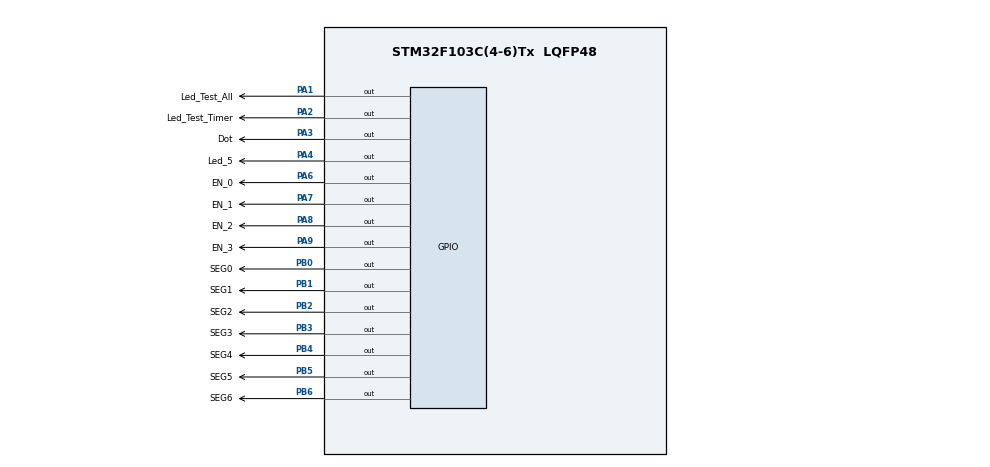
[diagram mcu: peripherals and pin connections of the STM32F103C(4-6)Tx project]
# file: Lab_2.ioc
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Mcu.Family=STM32F1
Mcu.Name=STM32F103C(4-6)Tx
Mcu.Package=LQFP48
NVIC.PriorityGroup=NVIC_PRIORITYGROUP_4
NVIC.TIM2_IRQn=true\:0\:0\:false\:false\:true\:true\:true
PA1.GPIO_Label=Led_Test_All
PA1.Signal=GPIO_Output
PA2.GPIO_Label=Led_Test_Timer
PA2.Signal=GPIO_Output
PA3.GPIO_Label=Dot
PA3.Signal=GPIO_Output
PA4.GPIO_Label=Led_5
PA4.Signal=GPIO_Output
PA6.GPIO_Label=EN_0
PA6.Signal=GPIO_Output
PA7.GPIO_Label=EN_1
PA7.Signal=GPIO_Output
PA8.GPIO_Label=EN_2
PA8.Signal=GPIO_Output
PA9.GPIO_Label=EN_3
PA9.Signal=GPIO_Output
PB0.GPIO_Label=SEG0
PB0.Signal=GPIO_Output
PB1.GPIO_Label=SEG1
PB1.Signal=GPIO_Output
PB2.GPIO_Label=SEG2
PB2.Signal=GPIO_Output
PB3.GPIO_Label=SEG3
PB3.Signal=GPIO_Output
PB4.GPIO_Label=SEG4
PB4.Signal=GPIO_Output
PB5.GPIO_Label=SEG5
PB5.Signal=GPIO_Output
PB6.GPIO_Label=SEG6
PB6.Signal=GPIO_Output
ProjectManager.HeapSize=0x200
ProjectManager.StackSize=0x400
ProjectManager.TargetToolchain=STM32CubeIDE
RCC.APB1Freq_Value=8000000
RCC.APB2Freq_Value=8000000
TIM2.Period=9
TIM2.Prescaler=7999
VP_SYS_VS_ND.Mode=No_Debug
VP_TIM2_VS_ClockSourceINT.Mode=Internal
board=custom

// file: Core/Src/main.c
/* USER CODE BEGIN Header */
/**
  ******************************************************************************
  * @file           : main.c
  * @brief          : Main program body
  ******************************************************************************
  * @attention
  *
  * <h2><center>&copy; Copyright (c) 2024 STMicroelectronics.
  * All rights reserved.</center></h2>
  *
  * This software component is licensed by ST under BSD 3-Clause license,
  * the "License"; You may not use this file except in compliance with the
  * License. You may obtain a copy of the License at:
  *                        opensource.org/licenses/BSD-3-Clause
  *
  ******************************************************************************
  */
/* USER CODE END Header */
#include "main.h"

TIM_HandleTypeDef htim2;

void SystemClock_Config(void);
static void MX_GPIO_Init(void);
static void MX_TIM2_Init(void);

/* USER CODE BEGIN 0 */
void clear7SEG() {
	HAL_GPIO_WritePin(SEG0_GPIO_Port, SEG0_Pin, GPIO_PIN_SET);
	HAL_GPIO_WritePin(SEG5_GPIO_Port, SEG5_Pin, GPIO_PIN_SET);
	HAL_GPIO_WritePin(SEG4_GPIO_Port, SEG4_Pin, GPIO_PIN_SET);
	HAL_GPIO_WritePin(SEG3_GPIO_Port, SEG3_Pin, GPIO_PIN_SET);
	HAL_GPIO_WritePin(SEG6_GPIO_Port, SEG6_Pin, GPIO_PIN_SET);
	HAL_GPIO_WritePin(SEG1_GPIO_Port, SEG1_Pin, GPIO_PIN_SET);
	HAL_GPIO_WritePin(SEG2_GPIO_Port, SEG2_Pin, GPIO_PIN_SET);
}

void display7SEG (int num) {

  switch (num) {
	case 0:
		HAL_GPIO_WritePin(SEG6_GPIO_Port, SEG6_Pin, GPIO_PIN_SET);
		HAL_GPIO_WritePin(SEG0_GPIO_Port, SEG0_Pin, GPIO_PIN_RESET);
		HAL_GPIO_WritePin(SEG1_GPIO_Port, SEG1_Pin, GPIO_PIN_RESET);
		HAL_GPIO_WritePin(SEG2_GPIO_Port, SEG2_Pin, GPIO_PIN_RESET);
		HAL_GPIO_WritePin(SEG3_GPIO_Port, SEG3_Pin, GPIO_PIN_RESET);
		HAL_GPIO_WritePin(SEG4_GPIO_Port, SEG4_Pin, GPIO_PIN_RESET);
		HAL_GPIO_WritePin(SEG5_GPIO_Port, SEG5_Pin, GPIO_PIN_RESET);
		break;
	case 1:
		HAL_GPIO_WritePin(SEG0_GPIO_Port, SEG0_Pin, GPIO_PIN_SET);
		HAL_GPIO_WritePin(SEG5_GPIO_Port, SEG5_Pin, GPIO_PIN_SET);
		HAL_GPIO_WritePin(SEG4_GPIO_Port, SEG4_Pin, GPIO_PIN_SET);
		HAL_GPIO_WritePin(SEG3_GPIO_Port, SEG3_Pin, GPIO_PIN_SET);
		HAL_GPIO_WritePin(SEG6_GPIO_Port, SEG6_Pin, GPIO_PIN_SET);
		HAL_GPIO_WritePin(SEG1_GPIO_Port, SEG1_Pin, GPIO_PIN_RESET);
		HAL_GPIO_WritePin(SEG2_GPIO_Port, SEG2_Pin, GPIO_PIN_RESET);
		break;
	case 2:
		HAL_GPIO_WritePin(SEG5_GPIO_Port, SEG5_Pin, GPIO_PIN_SET);
		HAL_GPIO_WritePin(SEG2_GPIO_Port, SEG2_Pin, GPIO_PIN_SET);
		HAL_GPIO_WritePin(SEG0_GPIO_Port, SEG0_Pin, GPIO_PIN_RESET);
		HAL_GPIO_WritePin(SEG1_GPIO_Port, SEG1_Pin, GPIO_PIN_RESET);
		HAL_GPIO_WritePin(SEG6_GPIO_Port, SEG6_Pin, GPIO_PIN_RESET);
		HAL_GPIO_WritePin(SEG4_GPIO_Port, SEG4_Pin, GPIO_PIN_RESET);
		HAL_GPIO_WritePin(SEG3_GPIO_Port, SEG3_Pin, GPIO_PIN_RESET);
		break;
	case 3:
		HAL_GPIO_WritePin(SEG5_GPIO_Port, SEG5_Pin, GPIO_PIN_SET);
		HAL_GPIO_WritePin(SEG4_GPIO_Port, SEG4_Pin, GPIO_PIN_SET);
		HAL_GPIO_WritePin(SEG0_GPIO_Port, SEG0_Pin, GPIO_PIN_RESET);
		HAL_GPIO_WritePin(SEG1_GPIO_Port, SEG1_Pin, GPIO_PIN_RESET);
		HAL_GPIO_WritePin(SEG6_GPIO_Port, SEG6_Pin, GPIO_PIN_RESET);
		HAL_GPIO_WritePin(SEG2_GPIO_Port, SEG2_Pin, GPIO_PIN_RESET);
		HAL_GPIO_WritePin(SEG3_GPIO_Port, SEG3_Pin, GPIO_PIN_RESET);
		break;
	case 4:
		HAL_GPIO_WritePin(SEG0_GPIO_Port, SEG0_Pin, GPIO_PIN_SET);
		HAL_GPIO_WritePin(SEG4_GPIO_Port, SEG4_Pin, GPIO_PIN_SET);
		HAL_GPIO_WritePin(SEG3_GPIO_Port, SEG3_Pin, GPIO_PIN_SET);
		HAL_GPIO_WritePin(SEG5_GPIO_Port, SEG5_Pin, GPIO_PIN_RESET);
		HAL_GPIO_WritePin(SEG1_GPIO_Port, SEG1_Pin, GPIO_PIN_RESET);
		HAL_GPIO_WritePin(SEG6_GPIO_Port, SEG6_Pin, GPIO_PIN_RESET);
		HAL_GPIO_WritePin(SEG2_GPIO_Port, SEG2_Pin, GPIO_PIN_RESET);
		break;
	case 5:
		HAL_GPIO_WritePin(SEG1_GPIO_Port, SEG1_Pin, GPIO_PIN_SET);
		HAL_GPIO_WritePin(SEG4_GPIO_Port, SEG4_Pin, GPIO_PIN_SET);
		HAL_GPIO_WritePin(SEG0_GPIO_Port, SEG0_Pin, GPIO_PIN_RESET);
		HAL_GPIO_WritePin(SEG5_GPIO_Port, SEG5_Pin, GPIO_PIN_RESET);
		HAL_GPIO_WritePin(SEG6_GPIO_Port, SEG6_Pin, GPIO_PIN_RESET);
		HAL_GPIO_WritePin(SEG2_GPIO_Port, SEG2_Pin, GPIO_PIN_RESET);
		HAL_GPIO_WritePin(SEG3_GPIO_Port, SEG3_Pin, GPIO_PIN_RESET);
		break;
	case 6:
		HAL_GPIO_WritePin(SEG1_GPIO_Port, SEG1_Pin, GPIO_PIN_SET);
		HAL_GPIO_WritePin(SEG0_GPIO_Port, SEG0_Pin, GPIO_PIN_RESET);
		HAL_GPIO_WritePin(SEG5_GPIO_Port, SEG5_Pin, GPIO_PIN_RESET);
		HAL_GPIO_WritePin(SEG6_GPIO_Port, SEG6_Pin, GPIO_PIN_RESET);
		HAL_GPIO_WritePin(SEG4_GPIO_Port, SEG4_Pin, GPIO_PIN_RESET);
		HAL_GPIO_WritePin(SEG2_GPIO_Port, SEG2_Pin, GPIO_PIN_RESET);
		HAL_GPIO_WritePin(SEG3_GPIO_Port, SEG3_Pin, GPIO_PIN_RESET);
		break;
	case 7:
		HAL_GPIO_WritePin(SEG5_GPIO_Port, SEG5_Pin, GPIO_PIN_SET);
		HAL_GPIO_WritePin(SEG6_GPIO_Port, SEG6_Pin, GPIO_PIN_SET);
		HAL_GPIO_WritePin(SEG4_GPIO_Port, SEG4_Pin, GPIO_PIN_SET);
		HAL_GPIO_WritePin(SEG3_GPIO_Port, SEG3_Pin, GPIO_PIN_SET);
		HAL_GPIO_WritePin(SEG0_GPIO_Port, SEG0_Pin, GPIO_PIN_RESET);
		HAL_GPIO_WritePin(SEG1_GPIO_Port, SEG1_Pin, GPIO_PIN_RESET);
		HAL_GPIO_WritePin(SEG2_GPIO_Port, SEG2_Pin, GPIO_PIN_RESET);
		break;
	case 8:
		HAL_GPIO_WritePin(SEG0_GPIO_Port, SEG0_Pin, GPIO_PIN_RESET);
		HAL_GPIO_WritePin(SEG1_GPIO_Port, SEG1_Pin, GPIO_PIN_RESET);
		HAL_GPIO_WritePin(SEG2_GPIO_Port, SEG2_Pin, GPIO_PIN_RESET);
		HAL_GPIO_WritePin(SEG5_GPIO_Port, SEG5_Pin, GPIO_PIN_RESET);
		HAL_GPIO_WritePin(SEG6_GPIO_Port, SEG6_Pin, GPIO_PIN_RESET);
		HAL_GPIO_WritePin(SEG4_GPIO_Port, SEG4_Pin, GPIO_PIN_RESET);
		HAL_GPIO_WritePin(SEG3_GPIO_Port, SEG3_Pin, GPIO_PIN_RESET);
		break;
	case 9:
		HAL_GPIO_WritePin(SEG4_GPIO_Port, SEG4_Pin, GPIO_PIN_SET);
		HAL_GPIO_WritePin(SEG0_GPIO_Port, SEG0_Pin, GPIO_PIN_RESET);
		HAL_GPIO_WritePin(SEG1_GPIO_Port, SEG1_Pin, GPIO_PIN_RESET);
		HAL_GPIO_WritePin(SEG2_GPIO_Port, SEG2_Pin, GPIO_PIN_RESET);
		HAL_GPIO_WritePin(SEG5_GPIO_Port, SEG5_Pin, GPIO_PIN_RESET);
		HAL_GPIO_WritePin(SEG6_GPIO_Port, SEG6_Pin, GPIO_PIN_RESET);
		HAL_GPIO_WritePin(SEG3_GPIO_Port, SEG3_Pin, GPIO_PIN_RESET);
		break;
	default:
		clear7SEG();
		break;
  }
}

void initState() {
	display7SEG(8);
		HAL_Delay(2000);
		clear7SEG();
		HAL_GPIO_WritePin(GPIOA, GPIO_PIN_All, GPIO_PIN_SET);
		HAL_Delay(1000);
	}
const unsigned int MAX_LED = 4;
int led_buffer[4] = {1, 2, 3, 4};

void update7SEG(int index) {
	switch (index) {
		case 0:
			display7SEG(led_buffer[0]);
			HAL_GPIO_WritePin(EN_0_GPIO_Port, EN_0_Pin, GPIO_PIN_RESET);
			HAL_GPIO_WritePin(EN_1_GPIO_Port, EN_1_Pin, GPIO_PIN_SET);
			HAL_GPIO_WritePin(EN_2_GPIO_Port, EN_2_Pin, GPIO_PIN_SET);
			HAL_GPIO_WritePin(EN_3_GPIO_Port, EN_3_Pin, GPIO_PIN_SET);
			break;
		case 1:
			display7SEG(led_buffer[1]);
			HAL_GPIO_WritePin(EN_0_GPIO_Port, EN_0_Pin, GPIO_PIN_SET);
			HAL_GPIO_WritePin(EN_1_GPIO_Port, EN_1_Pin, GPIO_PIN_RESET);
			HAL_GPIO_WritePin(EN_2_GPIO_Port, EN_2_Pin, GPIO_PIN_SET);
			HAL_GPIO_WritePin(EN_3_GPIO_Port, EN_3_Pin, GPIO_PIN_SET);
			break;
		case 2:
			display7SEG(led_buffer[2]);
			HAL_GPIO_WritePin(EN_0_GPIO_Port, EN_0_Pin, GPIO_PIN_SET);
			HAL_GPIO_WritePin(EN_1_GPIO_Port, EN_1_Pin, GPIO_PIN_SET);
			HAL_GPIO_WritePin(EN_2_GPIO_Port, EN_2_Pin, GPIO_PIN_RESET);
			HAL_GPIO_WritePin(EN_3_GPIO_Port, EN_3_Pin, GPIO_PIN_SET);
			break;
		case 3:
			display7SEG(led_buffer[3]);
			HAL_GPIO_WritePin(EN_0_GPIO_Port, EN_0_Pin, GPIO_PIN_SET);
			HAL_GPIO_WritePin(EN_1_GPIO_Port, EN_1_Pin, GPIO_PIN_SET);
			HAL_GPIO_WritePin(EN_2_GPIO_Port, EN_2_Pin, GPIO_PIN_SET);
			HAL_GPIO_WritePin(EN_3_GPIO_Port, EN_3_Pin, GPIO_PIN_RESET);
			break;
		default:
			HAL_GPIO_WritePin(EN_0_GPIO_Port, EN_0_Pin, GPIO_PIN_RESET);
			HAL_GPIO_WritePin(EN_1_GPIO_Port, EN_1_Pin, GPIO_PIN_RESET);
			HAL_GPIO_WritePin(EN_2_GPIO_Port, EN_2_Pin, GPIO_PIN_RESET);
			HAL_GPIO_WritePin(EN_3_GPIO_Port, EN_3_Pin, GPIO_PIN_RESET);
			break;
	}
}
void updateClockBuffer(int hour, int minute) {
	led_buffer[0] = hour / 10;
	led_buffer[1] = hour % 10;
	led_buffer[2] = minute / 10;
	led_buffer[3] = minute % 10;
}

/* USER CODE END 0 */

int main(void)
{

  /* MCU Configuration--------------------------------------------------------*/

  /* Reset of all peripherals, Initializes the Flash interface and the Systick. */
  HAL_Init();

  /* Configure the system clock */
  SystemClock_Config();

  /* Initialize all configured peripherals */
  MX_GPIO_Init();
  MX_TIM2_Init();
  /* USER CODE BEGIN 2 */
  HAL_TIM_Base_Start_IT (&htim2);
  initState();
  /* USER CODE END 2 */
  /* Infinite loop */
  /* USER CODE BEGIN WHILE */
  HAL_GPIO_WritePin(Dot_GPIO_Port, Dot_Pin, GPIO_PIN_RESET);
  int hour = 15, minute = 8, second = 58;
  while (1)
  {
	  HAL_GPIO_TogglePin(Led_Test_All_GPIO_Port, Led_Test_All_Pin);
    /* USER CODE END WHILE */

    /* USER CODE BEGIN 3 */
	  second++;
	  	  if (second >= 60) {
	  		  second = 0;
	  		  minute++;
	  	  }
	  	  if( minute >= 60) {
	  		  minute = 0;
	  		  hour++;
	  	  }
	  	  if( hour >=24){
	  		  hour = 0;
	  	  }
	  	  updateClockBuffer(hour, minute);
	   HAL_Delay(1000);
  }
  /* USER CODE END 3 */
}

void SystemClock_Config(void)
{
  RCC_OscInitTypeDef RCC_OscInitStruct = {0};
  RCC_ClkInitTypeDef RCC_ClkInitStruct = {0};

  /** Initializes the RCC Oscillators according to the specified parameters
  * in the RCC_OscInitTypeDef structure.
  */
  RCC_OscInitStruct.OscillatorType = RCC_OSCILLATORTYPE_HSI;
  RCC_OscInitStruct.HSIState = RCC_HSI_ON;
  RCC_OscInitStruct.HSICalibrationValue = RCC_HSICALIBRATION_DEFAULT;
  RCC_OscInitStruct.PLL.PLLState = RCC_PLL_NONE;
  if (HAL_RCC_OscConfig(&RCC_OscInitStruct) != HAL_OK)
  {
    Error_Handler();
  }
  /** Initializes the CPU, AHB and APB buses clocks
  */
  RCC_ClkInitStruct.ClockType = RCC_CLOCKTYPE_HCLK|RCC_CLOCKTYPE_SYSCLK
                              |RCC_CLOCKTYPE_PCLK1|RCC_CLOCKTYPE_PCLK2;
  RCC_ClkInitStruct.SYSCLKSource = RCC_SYSCLKSOURCE_HSI;
  RCC_ClkInitStruct.AHBCLKDivider = RCC_SYSCLK_DIV1;
  RCC_ClkInitStruct.APB1CLKDivider = RCC_HCLK_DIV1;
  RCC_ClkInitStruct.APB2CLKDivider = RCC_HCLK_DIV1;

  if (HAL_RCC_ClockConfig(&RCC_ClkInitStruct, FLASH_LATENCY_0) != HAL_OK)
  {
    Error_Handler();
  }
}

static void MX_TIM2_Init(void)
{

  TIM_ClockConfigTypeDef sClockSourceConfig = {0};
  TIM_MasterConfigTypeDef sMasterConfig = {0};

  htim2.Instance = TIM2;
  htim2.Init.Prescaler = 7999;
  htim2.Init.CounterMode = TIM_COUNTERMODE_UP;
  htim2.Init.Period = 9;
  htim2.Init.ClockDivision = TIM_CLOCKDIVISION_DIV1;
  htim2.Init.AutoReloadPreload = TIM_AUTORELOAD_PRELOAD_DISABLE;
  if (HAL_TIM_Base_Init(&htim2) != HAL_OK)
  {
    Error_Handler();
  }
  sClockSourceConfig.ClockSource = TIM_CLOCKSOURCE_INTERNAL;
  if (HAL_TIM_ConfigClockSource(&htim2, &sClockSourceConfig) != HAL_OK)
  {
    Error_Handler();
  }
  sMasterConfig.MasterOutputTrigger = TIM_TRGO_RESET;
  sMasterConfig.MasterSlaveMode = TIM_MASTERSLAVEMODE_DISABLE;
  if (HAL_TIMEx_MasterConfigSynchronization(&htim2, &sMasterConfig) != HAL_OK)
  {
    Error_Handler();
  }

}

static void MX_GPIO_Init(void)
{
  GPIO_InitTypeDef GPIO_InitStruct = {0};

  /* GPIO Ports Clock Enable */
  __HAL_RCC_GPIOA_CLK_ENABLE();
  __HAL_RCC_GPIOB_CLK_ENABLE();

  /*Configure GPIO pin Output Level */
  HAL_GPIO_WritePin(GPIOA, Led_Test_All_Pin|Led_Test_Timer_Pin|Dot_Pin|Led_5_Pin
                          |EN_0_Pin|EN_1_Pin|EN_2_Pin|EN_3_Pin, GPIO_PIN_RESET);

  /*Configure GPIO pin Output Level */
  HAL_GPIO_WritePin(GPIOB, SEG0_Pin|SEG1_Pin|SEG2_Pin|SEG3_Pin
                          |SEG4_Pin|SEG5_Pin|SEG6_Pin, GPIO_PIN_RESET);

  /*Configure GPIO pins : Led_Test_All_Pin Led_Test_Timer_Pin Dot_Pin Led_5_Pin
                           EN_0_Pin EN_1_Pin EN_2_Pin EN_3_Pin */
  GPIO_InitStruct.Pin = Led_Test_All_Pin|Led_Test_Timer_Pin|Dot_Pin|Led_5_Pin
                          |EN_0_Pin|EN_1_Pin|EN_2_Pin|EN_3_Pin;
  GPIO_InitStruct.Mode = GPIO_MODE_OUTPUT_PP;
  GPIO_InitStruct.Pull = GPIO_NOPULL;
  GPIO_InitStruct.Speed = GPIO_SPEED_FREQ_LOW;
  HAL_GPIO_Init(GPIOA, &GPIO_InitStruct);

  /*Configure GPIO pins : SEG0_Pin SEG1_Pin SEG2_Pin SEG3_Pin
                           SEG4_Pin SEG5_Pin SEG6_Pin */
  GPIO_InitStruct.Pin = SEG0_Pin|SEG1_Pin|SEG2_Pin|SEG3_Pin
                          |SEG4_Pin|SEG5_Pin|SEG6_Pin;
  GPIO_InitStruct.Mode = GPIO_MODE_OUTPUT_PP;
  GPIO_InitStruct.Pull = GPIO_NOPULL;
  GPIO_InitStruct.Speed = GPIO_SPEED_FREQ_LOW;
  HAL_GPIO_Init(GPIOB, &GPIO_InitStruct);

}

/* USER CODE BEGIN 4 */
const unsigned int SCALE = 100;
int counter = SCALE;
unsigned int index_led = 0;

void HAL_TIM_PeriodElapsedCallback ( TIM_HandleTypeDef * htim )
{
	HAL_GPIO_TogglePin(Led_Test_Timer_GPIO_Port, Led_Test_Timer_Pin);

	// Production
	if (counter == SCALE) {
		update7SEG(index_led++);
	} else if(counter == (SCALE*3/4)) {
		update7SEG(index_led++);
	} else if (counter == (SCALE*2/4)) {
		update7SEG(index_led++);
	} else if (counter == (SCALE*1/4)) {
		update7SEG(index_led++);
	}

	if (!(index_led < MAX_LED)) index_led = 0;

	counter = (counter > 0) ? counter-1 : SCALE;
}
/* USER CODE END 4 */

void Error_Handler(void)
{
  __disable_irq();
  while (1)
  {
  }
}

/************************ (C) COPYRIGHT STMicroelectronics *****END OF FILE****/
